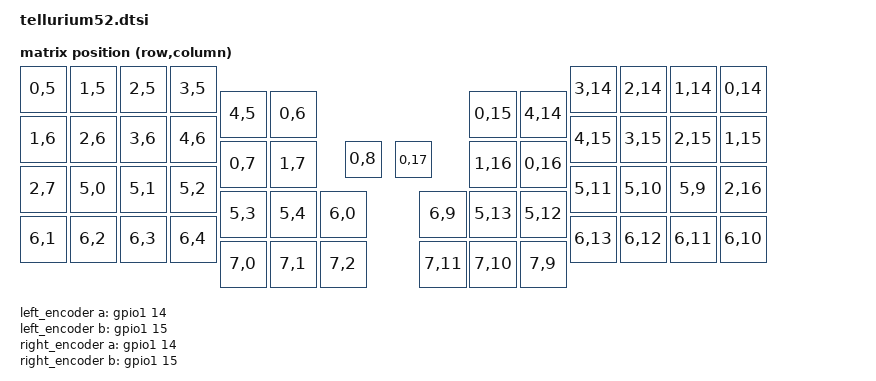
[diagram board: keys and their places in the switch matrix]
#include <dt-bindings/zmk/matrix_transform.h>
#include <physical_layouts.dtsi>
#include <zephyr/dt-bindings/gpio/gpio.h>

/*
 * ==================== ロータリーエンコーダー ====================
 * 【重要】左右のエンコーダーは必ずこの共通ファイルで「両方」定義し、
 * sensors にも両方並べること。使う側だけを overlay で okay にする。
 *
 * 理由: 分割キーボードでは子機が自分のローカルなセンサー番号をそのまま
 * 親機へ送り、親機は変換せずに使う(central.c: .sensor_index = そのまま)。
 * 子機側で sensors = <&right_encoder> とだけ書くと右エンコーダが0番になり、
 * 左エンコーダと同じ keymap の sensor-bindings[0] を引いてしまう。
 * 実際「左も右も縦スクロールになる」症状が出た。
 * 両方を同じ順で並べれば 左=0番 / 右=1番 が左右のビルドで一致する。
 *
 * 無効側は DEVICE_DT_GET_OR_NULL で NULL になり、初期化時に
 * 「No local device for N」とログを出してスキップされるだけなので安全。
 *
 * D9=P1.14, D10=P1.15。kscan と同じく GPIO を直接指定する。
 */
/ {
    left_encoder: left_encoder {
        compatible = "alps,ec11";
        a-gpios = <&gpio1 14 (GPIO_ACTIVE_HIGH | GPIO_PULL_UP)>;
        b-gpios = <&gpio1 15 (GPIO_ACTIVE_HIGH | GPIO_PULL_UP)>;
        // resolution は非推奨。現在は steps(1回転あたりの総パルス数)で指定する。
        // 一般的なEC11: 20クリック x 4パルス = 80
        steps = <80>;
        status = "disabled";
    };

    right_encoder: right_encoder {
        compatible = "alps,ec11";
        a-gpios = <&gpio1 14 (GPIO_ACTIVE_HIGH | GPIO_PULL_UP)>;
        b-gpios = <&gpio1 15 (GPIO_ACTIVE_HIGH | GPIO_PULL_UP)>;
        steps = <80>;
        status = "disabled";
    };

    sensors: sensors {
        compatible = "zmk,keymap-sensors";
        // 並び順がそのまま keymap の sensor-bindings の順になる。
        sensors = <&left_encoder &right_encoder>;
        // 1回転あたりの反応回数。steps=80 は4パルス/ノッチなので20ノッチ/回転。
        // 20 = 1ノッチ1回、40 = 1ノッチ2回。
        triggers-per-rotation = <20>;
    };
};

/ {
    chosen {
        zmk,kscan = &kscan0;
        zmk,physical-layout = &layout_main;
    };

    default_transform: keymap_transform_0 {
        compatible = "zmk,matrix-transform";
        columns = <18>;
        rows = <9>;
        /*
         * map の並び順 = keymap の bindings の並び順 = 下の keys の並び順。
         * 各段は「外側4キー → 内側」の順(左手なら x=0〜300 → 400〜600、
         * 右手なら x=1100〜1400 → 800〜1000)。
         *
         * 【右手は鏡像】右手の基板は左手の鏡像なので、同じ配線順(SW1,SW2…)
         * が物理的には右から左へ並ぶ。実測で確認:
         *   行0で 一番右=SW1(I) / 右2番目=SW2(O) / … / 内側左=SW6(U)
         * そのため右手側だけ、各段で並びを反転させてある。
         * 反転させないと「段ごとに左右が入れ替わって打たれる」症状になる。
         */
        map = <
            /* ================= 左手 26キー =================
               SW1〜SW26 が視覚的な左→右・上→下の順に並ぶ(こちらは素直) */
            /* 1段 x=0,100,200,300 | 400,500 */
            RC(0,5) RC(1,5) RC(2,5) RC(3,5)   RC(4,5) RC(0,6)
            /* 2段 */
            RC(1,6) RC(2,6) RC(3,6) RC(4,6)   RC(0,7) RC(1,7)
            /* 3段 (内側が3キー) */
            RC(2,7) RC(5,0) RC(5,1) RC(5,2)   RC(5,3) RC(5,4) RC(6,0)
            /* 4段 (内側が3キー) */
            RC(6,1) RC(6,2) RC(6,3) RC(6,4)   RC(7,0) RC(7,1) RC(7,2)

            /* ================= 右手 26キー =================
               col-offset=9 を織り込み済み。左手と違い各段が反転している。
               外側は x=1100→1400 の順に SW4,SW3,SW2,SW1 と並ぶ。 */
            /* 1段 x=1100,1200,1300,1400 | 900,1000 */
            RC(3,14) RC(2,14) RC(1,14) RC(0,14)   RC(0,15) RC(4,14)
            /* 2段 */
            RC(4,15) RC(3,15) RC(2,15) RC(1,15)   RC(1,16) RC(0,16)
            /* 3段 (内側が3キー: x=800,900,1000) */
            RC(5,11) RC(5,10) RC(5,9) RC(2,16)   RC(6,9) RC(5,13) RC(5,12)
            /* 4段 (内側が3キー) */
            RC(6,13) RC(6,12) RC(6,11) RC(6,10)   RC(7,11) RC(7,10) RC(7,9)

            /* ロータリーエンコーダー押し込み(左・右)。1キーなので反転は無関係 */
            RC(0,8) RC(0,17)
        >;
    };

    layout_main: layout_main {
        compatible = "zmk,physical-layout";
        display-name = "Default Layout";
        transform = <&default_transform>;
        kscan = <&kscan0>;
        keys
            = <&key_physical_attrs 100 100   0   0 0 0 0> , <&key_physical_attrs 100 100 100   0 0 0 0> , <&key_physical_attrs 100 100 200   0 0 0 0> , <&key_physical_attrs 100 100 300   0 0 0 0> , <&key_physical_attrs 100 100 400  50 0 0 0> , <&key_physical_attrs 100 100 500  50 0 0 0>
            , <&key_physical_attrs 100 100   0 100 0 0 0> , <&key_physical_attrs 100 100 100 100 0 0 0> , <&key_physical_attrs 100 100 200 100 0 0 0> , <&key_physical_attrs 100 100 300 100 0 0 0> , <&key_physical_attrs 100 100 400 150 0 0 0> , <&key_physical_attrs 100 100 500 150 0 0 0>
            , <&key_physical_attrs 100 100   0 200 0 0 0> , <&key_physical_attrs 100 100 100 200 0 0 0> , <&key_physical_attrs 100 100 200 200 0 0 0> , <&key_physical_attrs 100 100 300 200 0 0 0> , <&key_physical_attrs 100 100 400 250 0 0 0> , <&key_physical_attrs 100 100 500 250 0 0 0> , <&key_physical_attrs 100 100 600 250 0 0 0>
            , <&key_physical_attrs 100 100   0 300 0 0 0> , <&key_physical_attrs 100 100 100 300 0 0 0> , <&key_physical_attrs 100 100 200 300 0 0 0> , <&key_physical_attrs 100 100 300 300 0 0 0> , <&key_physical_attrs 100 100 400 350 0 0 0> , <&key_physical_attrs 100 100 500 350 0 0 0> , <&key_physical_attrs 100 100 600 350 0 0 0>
            , <&key_physical_attrs 100 100 1100   0 0 0 0> , <&key_physical_attrs 100 100 1200   0 0 0 0> , <&key_physical_attrs 100 100 1300   0 0 0 0> , <&key_physical_attrs 100 100 1400   0 0 0 0> , <&key_physical_attrs 100 100  900  50 0 0 0> , <&key_physical_attrs 100 100 1000  50 0 0 0>
            , <&key_physical_attrs 100 100 1100 100 0 0 0> , <&key_physical_attrs 100 100 1200 100 0 0 0> , <&key_physical_attrs 100 100 1300 100 0 0 0> , <&key_physical_attrs 100 100 1400 100 0 0 0> , <&key_physical_attrs 100 100  900 150 0 0 0> , <&key_physical_attrs 100 100 1000 150 0 0 0>
            , <&key_physical_attrs 100 100 1100 200 0 0 0> , <&key_physical_attrs 100 100 1200 200 0 0 0> , <&key_physical_attrs 100 100 1300 200 0 0 0> , <&key_physical_attrs 100 100 1400 200 0 0 0> , <&key_physical_attrs 100 100  800 250 0 0 0> , <&key_physical_attrs 100 100  900 250 0 0 0> , <&key_physical_attrs 100 100 1000 250 0 0 0>
            , <&key_physical_attrs 100 100 1100 300 0 0 0> , <&key_physical_attrs 100 100 1200 300 0 0 0> , <&key_physical_attrs 100 100 1300 300 0 0 0> , <&key_physical_attrs 100 100 1400 300 0 0 0> , <&key_physical_attrs 100 100  800 350 0 0 0> , <&key_physical_attrs 100 100  900 350 0 0 0> , <&key_physical_attrs 100 100 1000 350 0 0 0>
            , <&key_physical_attrs  80  80 650 150 0 0 0> , <&key_physical_attrs  80  80 750 150 0 0 0>
            ;
    };

    kscan0: kscan {
        compatible = "zmk,kscan-gpio-charlieplex";
        wakeup-source;

        /*
         * 【重要】スキャン間隔。既定値はどちらも 1ms しかない。
         * このドライバの待ち時間は k_busy_wait() = CPUを回して待つ実装で、
         * 9本のピンを1周するのに 9×(前+後) だけかかる。150µsでも2.7ms、
         * 以前の500µsでは9ms。それを1ms間隔で回そうとするため、次の予定
         * 時刻が常に過去になり、スキャンが間断なく連続実行されていた。
         * = CPUをほぼ100%空回りで占有。
         *
         * その結果ペアリングの鍵計算(ECDH)が終わらず、
         *   親機 bt_smp_pkey_ready = 67.9秒 / 子機 = 101.1秒
         * SMPの30秒タイムアウトに間に合わず左右の接続が永久に失敗していた。
         * (本来この計算は10秒弱で終わる)
         *
         * 20ms / 10ms にすれば待機中の占有は 2.7/20 = 約14%まで下がる。
         * 押下検知の遅れは最大でも20ms程度で体感できない。
         */
        poll-period-ms = <20>;
        debounce-scan-period-ms = <10>;
    };
};

&uicr {
    nfct-pins-as-gpios;
};

&uart0 {
    status = "disabled";
};

&i2c1 {
    status = "disabled";
};

&spi2 {
    status = "disabled";
};
